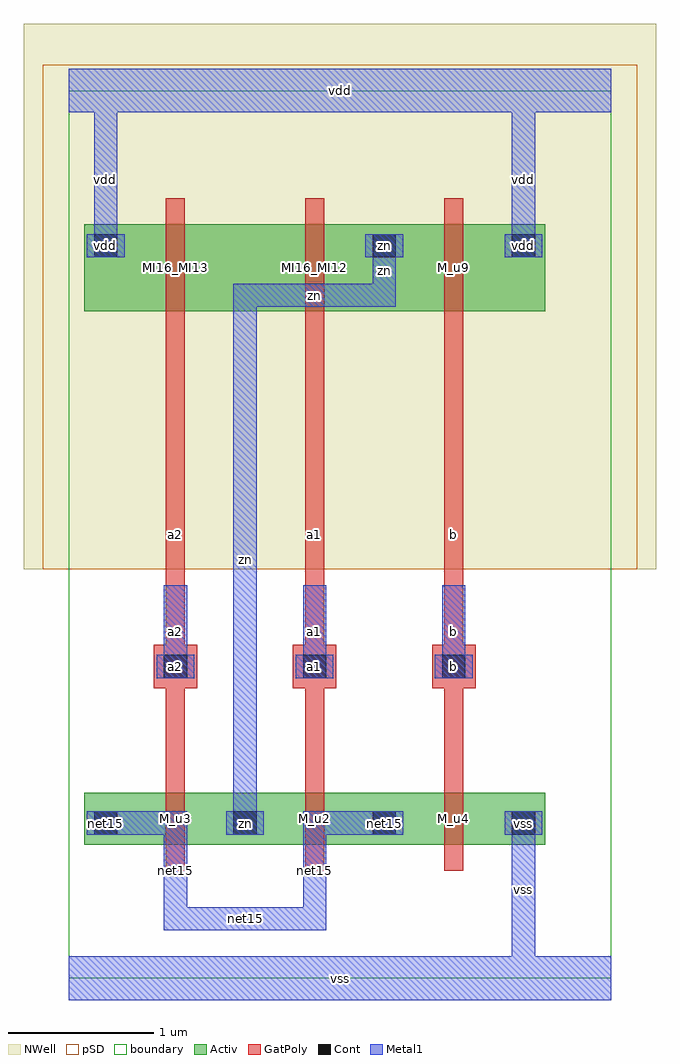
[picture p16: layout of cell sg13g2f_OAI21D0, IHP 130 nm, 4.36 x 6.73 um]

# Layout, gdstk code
import gdstk
lib = gdstk.Library(unit=1e-6, precision=1e-09)
def R(c, l, rs):  # rectangles x0, y0, x1, y1
    for r in rs: c.add(gdstk.rectangle(r[:2], r[2:], *l))
def A(c, l, x, y, w, h, nx, ny, dx, dy):  # array of equal rectangles
    R(c, l, [(x+i*dx, y+j*dy, x+i*dx+w, y+j*dy+h) for i in range(nx) for j in range(ny)])
Activ = (1, 0)
GatPoly = (5, 0)
Cont = (6, 0)
Metal1 = (8, 0)
pSD = (14, 0)
NWell = (31, 0)
TEXT = (63, 0)
boundary = (189, 4)

sg13g2f_oai21d0 = lib.new_cell('sg13g2f_OAI21D0')
A(sg13g2f_oai21d0, Activ, 0.105, 0.92, 1.26, 0.36, 3, 1, 0.96, 0)
A(sg13g2f_oai21d0, Activ, 0.105, 0.92, 0.3, 0.3, 4, 1, 0.96, 0)
A(sg13g2f_oai21d0, Activ, 0.105, 4.6, 1.26, 0.6, 3, 1, 0.96, 0)
R(sg13g2f_oai21d0, Activ, [(0.105,4.9,0.405,5.2), (2.025,4.9,2.325,5.2), (2.985,4.9,3.285,5.2)])
A(sg13g2f_oai21d0, GatPoly, 0.67, 0.74, 0.13, 0.72, 3, 1, 0.96, 0)
A(sg13g2f_oai21d0, GatPoly, 0.67, 1.005, 0.13, 4.11, 3, 1, 0.96, 0)
A(sg13g2f_oai21d0, GatPoly, 0.585, 2, 0.3, 0.3, 3, 1, 0.96, 0)
A(sg13g2f_oai21d0, GatPoly, 0.67, 4.42, 0.13, 0.96, 3, 1, 0.96, 0)
A(sg13g2f_oai21d0, Cont, 0.175, 0.99, 0.16, 0.16, 4, 1, 0.96, 0)
A(sg13g2f_oai21d0, Cont, 0.655, 2.07, 0.16, 0.16, 3, 1, 0.96, 0)
R(sg13g2f_oai21d0, Cont, [(0.175,4.97,0.335,5.13), (2.095,4.97,2.255,5.13), (3.055,4.97,3.215,5.13)])
A(sg13g2f_oai21d0, Metal1, 0.125, 0.99, 0.26, 0.16, 4, 1, 0.96, 0)
A(sg13g2f_oai21d0, Metal1, 0.605, 2.07, 0.26, 0.16, 3, 1, 0.96, 0)
A(sg13g2f_oai21d0, Metal1, 0.655, 2.07, 0.16, 0.64, 3, 1, 0.96, 0)
R(sg13g2f_oai21d0, Metal1, [(0,-0.15,3.74,0.15), (3.055,0.07,3.215,1.15), (0.655,0.33,1.775,0.49), (0.655,0.33,0.815,1.15), (1.615,0.33,1.775,1.15), (0.175,0.99,0.815,1.15), (1.135,0.99,1.295,4.79), (1.615,0.99,2.255,1.15), (1.135,4.63,2.255,4.79), (2.095,4.63,2.255,5.13), (0.125,4.97,0.385,5.13), (0.175,4.97,0.335,6.05), (2.045,4.97,2.305,5.13), (3.005,4.97,3.265,5.13), (3.055,4.97,3.215,6.05), (0,5.97,3.74,6.27)])
R(sg13g2f_oai21d0, pSD, [(-0.18,2.82,3.92,5.94), (-0.18,5.94,3.92,6.3)])
R(sg13g2f_oai21d0, NWell, [(-0.31,2.82,4.05,6.58)])
R(sg13g2f_oai21d0, boundary, [(0,0,3.74,6.12)])
sg13g2f_oai21d0.add(gdstk.FlexPath([(0.105,0.41),(3.285,0.41)], 0, ends="flush", simple_path=True, layer=63, datatype=0))  # TEXT
sg13g2f_oai21d0.add(gdstk.FlexPath([(0.105,1.07),(3.285,1.07)], 0, ends="flush", simple_path=True, layer=63, datatype=0))  # TEXT
sg13g2f_oai21d0.add(gdstk.FlexPath([(0.105,1.49),(3.285,1.49)], 0, ends="flush", simple_path=True, layer=63, datatype=0))  # TEXT
sg13g2f_oai21d0.add(gdstk.FlexPath([(0.105,2.15),(3.285,2.15)], 0, ends="flush", simple_path=True, layer=63, datatype=0))  # TEXT
sg13g2f_oai21d0.add(gdstk.FlexPath([(0.105,2.63),(3.285,2.63)], 0, ends="flush", simple_path=True, layer=63, datatype=0))  # TEXT
sg13g2f_oai21d0.add(gdstk.FlexPath([(0.105,3.11),(3.285,3.11)], 0, ends="flush", simple_path=True, layer=63, datatype=0))  # TEXT
sg13g2f_oai21d0.add(gdstk.FlexPath([(0.105,4.15),(3.285,4.15)], 0, ends="flush", simple_path=True, layer=63, datatype=0))  # TEXT
sg13g2f_oai21d0.add(gdstk.FlexPath([(0.105,4.71),(3.285,4.71)], 0, ends="flush", simple_path=True, layer=63, datatype=0))  # TEXT
sg13g2f_oai21d0.add(gdstk.FlexPath([(0.105,5.05),(3.285,5.05)], 0, ends="flush", simple_path=True, layer=63, datatype=0))  # TEXT
sg13g2f_oai21d0.add(gdstk.FlexPath([(0.105,5.71),(3.285,5.71)], 0, ends="flush", simple_path=True, layer=63, datatype=0))  # TEXT
sg13g2f_oai21d0.add(gdstk.FlexPath([(0.255,0.07),(0.255,6.05)], 0, ends="flush", simple_path=True, layer=63, datatype=0))  # TEXT
sg13g2f_oai21d0.add(gdstk.FlexPath([(0.735,0.07),(0.735,6.05)], 0, ends="flush", simple_path=True, layer=63, datatype=0))  # TEXT
sg13g2f_oai21d0.add(gdstk.FlexPath([(1.215,0.07),(1.215,6.05)], 0, ends="flush", simple_path=True, layer=63, datatype=0))  # TEXT
sg13g2f_oai21d0.add(gdstk.FlexPath([(1.695,0.07),(1.695,6.05)], 0, ends="flush", simple_path=True, layer=63, datatype=0))  # TEXT
sg13g2f_oai21d0.add(gdstk.FlexPath([(2.175,0.07),(2.175,6.05)], 0, ends="flush", simple_path=True, layer=63, datatype=0))  # TEXT
sg13g2f_oai21d0.add(gdstk.FlexPath([(2.655,0.07),(2.655,6.05)], 0, ends="flush", simple_path=True, layer=63, datatype=0))  # TEXT
sg13g2f_oai21d0.add(gdstk.FlexPath([(3.135,0.07),(3.135,6.05)], 0, ends="flush", simple_path=True, layer=63, datatype=0))  # TEXT
sg13g2f_oai21d0.add(gdstk.Label('zn', (1.215,1.07), layer=6, texttype=0))
sg13g2f_oai21d0.add(gdstk.Label('zn', (2.175,5.05), layer=6, texttype=0))
sg13g2f_oai21d0.add(gdstk.Label('a1', (1.695,2.15), layer=6, texttype=0))
sg13g2f_oai21d0.add(gdstk.Label('net15', (2.175,1.07), layer=6, texttype=0))
sg13g2f_oai21d0.add(gdstk.Label('net15', (0.255,1.07), layer=6, texttype=0))
sg13g2f_oai21d0.add(gdstk.Label('a2', (0.735,2.15), layer=6, texttype=0))
sg13g2f_oai21d0.add(gdstk.Label('b', (2.655,2.15), layer=6, texttype=0))
sg13g2f_oai21d0.add(gdstk.Label('vss', (3.135,1.07), layer=6, texttype=0))
sg13g2f_oai21d0.add(gdstk.Label('vdd', (3.135,5.05), layer=6, texttype=0))
sg13g2f_oai21d0.add(gdstk.Label('vdd', (0.255,5.05), layer=6, texttype=0))
sg13g2f_oai21d0.add(gdstk.Label('net15', (2.175,1.07), layer=8, texttype=0))
sg13g2f_oai21d0.add(gdstk.Label('net15', (0.255,1.07), layer=8, texttype=0))
sg13g2f_oai21d0.add(gdstk.Label('net15', (1.935,1.07), layer=8, texttype=0))
sg13g2f_oai21d0.add(gdstk.Label('net15', (1.695,0.74), layer=8, texttype=0))
sg13g2f_oai21d0.add(gdstk.Label('net15', (1.215,0.41), layer=8, texttype=0))
sg13g2f_oai21d0.add(gdstk.Label('net15', (0.735,0.74), layer=8, texttype=0))
sg13g2f_oai21d0.add(gdstk.Label('net15', (0.495,1.07), layer=8, texttype=0))
sg13g2f_oai21d0.add(gdstk.Label('vss', (3.135,1.07), layer=8, texttype=0))
sg13g2f_oai21d0.add(gdstk.Label('vss', (3.135,0.61), layer=8, texttype=0))
sg13g2f_oai21d0.add(gdstk.Label('vdd', (3.135,5.05), layer=8, texttype=0))
sg13g2f_oai21d0.add(gdstk.Label('vdd', (3.135,5.51), layer=8, texttype=0))
sg13g2f_oai21d0.add(gdstk.Label('vdd', (0.255,5.05), layer=8, texttype=0))
sg13g2f_oai21d0.add(gdstk.Label('vdd', (0.255,5.51), layer=8, texttype=0))
sg13g2f_oai21d0.add(gdstk.Label('zn', (1.215,1.07), layer=8, texttype=2))
sg13g2f_oai21d0.add(gdstk.Label('zn', (2.175,5.05), layer=8, texttype=2))
sg13g2f_oai21d0.add(gdstk.Label('zn', (1.215,2.89), layer=8, texttype=2))
sg13g2f_oai21d0.add(gdstk.Label('zn', (1.695,4.71), layer=8, texttype=2))
sg13g2f_oai21d0.add(gdstk.Label('zn', (2.175,4.88), layer=8, texttype=2))
sg13g2f_oai21d0.add(gdstk.Label('a1', (1.695,2.15), layer=8, texttype=2))
sg13g2f_oai21d0.add(gdstk.Label('a1', (1.695,2.39), layer=8, texttype=2))
sg13g2f_oai21d0.add(gdstk.Label('a2', (0.735,2.15), layer=8, texttype=2))
sg13g2f_oai21d0.add(gdstk.Label('a2', (0.735,2.39), layer=8, texttype=2))
sg13g2f_oai21d0.add(gdstk.Label('b', (2.655,2.15), layer=8, texttype=2))
sg13g2f_oai21d0.add(gdstk.Label('b', (2.655,2.39), layer=8, texttype=2))
sg13g2f_oai21d0.add(gdstk.Label('vss', (1.87,0), layer=8, texttype=2))
sg13g2f_oai21d0.add(gdstk.Label('vdd', (1.87,6.12), layer=8, texttype=2))
sg13g2f_oai21d0.add(gdstk.Label('zn', (1.215,1.07), layer=8, texttype=2))
sg13g2f_oai21d0.add(gdstk.Label('zn', (2.175,5.05), layer=8, texttype=2))
sg13g2f_oai21d0.add(gdstk.Label('zn', (1.215,2.89), layer=8, texttype=2))
sg13g2f_oai21d0.add(gdstk.Label('zn', (1.695,4.71), layer=8, texttype=2))
sg13g2f_oai21d0.add(gdstk.Label('zn', (2.175,4.88), layer=8, texttype=2))
sg13g2f_oai21d0.add(gdstk.Label('a1', (1.695,2.15), layer=8, texttype=2))
sg13g2f_oai21d0.add(gdstk.Label('a1', (1.695,2.39), layer=8, texttype=2))
sg13g2f_oai21d0.add(gdstk.Label('a2', (0.735,2.15), layer=8, texttype=2))
sg13g2f_oai21d0.add(gdstk.Label('a2', (0.735,2.39), layer=8, texttype=2))
sg13g2f_oai21d0.add(gdstk.Label('b', (2.655,2.15), layer=8, texttype=2))
sg13g2f_oai21d0.add(gdstk.Label('b', (2.655,2.39), layer=8, texttype=2))
sg13g2f_oai21d0.add(gdstk.Label('vss', (1.87,0), layer=8, texttype=2))
sg13g2f_oai21d0.add(gdstk.Label('vdd', (1.87,6.12), layer=8, texttype=2))
sg13g2f_oai21d0.add(gdstk.Label('M_u2', (1.695,1.1), layer=1, texttype=0))
sg13g2f_oai21d0.add(gdstk.Label('M_u3', (0.735,1.1), layer=1, texttype=0))
sg13g2f_oai21d0.add(gdstk.Label('M_u4', (2.655,1.1), layer=1, texttype=0))
sg13g2f_oai21d0.add(gdstk.Label('MI16_MI12', (1.695,4.9), layer=1, texttype=0))
sg13g2f_oai21d0.add(gdstk.Label('M_u9', (2.655,4.9), layer=1, texttype=0))
sg13g2f_oai21d0.add(gdstk.Label('MI16_MI13', (0.735,4.9), layer=1, texttype=0))
sg13g2f_oai21d0.add(gdstk.Label('zn', (1.215,1.07), layer=1, texttype=0))
sg13g2f_oai21d0.add(gdstk.Label('zn', (2.175,5.05), layer=1, texttype=0))
sg13g2f_oai21d0.add(gdstk.Label('net15', (2.175,1.07), layer=1, texttype=0))
sg13g2f_oai21d0.add(gdstk.Label('net15', (0.255,1.07), layer=1, texttype=0))
sg13g2f_oai21d0.add(gdstk.Label('vss', (3.135,1.07), layer=1, texttype=0))
sg13g2f_oai21d0.add(gdstk.Label('vdd', (3.135,5.05), layer=1, texttype=0))
sg13g2f_oai21d0.add(gdstk.Label('vdd', (0.255,5.05), layer=1, texttype=0))
sg13g2f_oai21d0.add(gdstk.Label('zn', (1.215,1.07), layer=8, texttype=25))
sg13g2f_oai21d0.add(gdstk.Label('zn', (2.175,5.05), layer=8, texttype=25))
sg13g2f_oai21d0.add(gdstk.Label('zn', (1.215,2.89), layer=8, texttype=25))
sg13g2f_oai21d0.add(gdstk.Label('zn', (1.695,4.71), layer=8, texttype=25))
sg13g2f_oai21d0.add(gdstk.Label('zn', (2.175,4.88), layer=8, texttype=25))
sg13g2f_oai21d0.add(gdstk.Label('a1', (1.695,2.15), layer=8, texttype=25))
sg13g2f_oai21d0.add(gdstk.Label('a1', (1.695,2.39), layer=8, texttype=25))
sg13g2f_oai21d0.add(gdstk.Label('a2', (0.735,2.15), layer=8, texttype=25))
sg13g2f_oai21d0.add(gdstk.Label('a2', (0.735,2.39), layer=8, texttype=25))
sg13g2f_oai21d0.add(gdstk.Label('b', (2.655,2.15), layer=8, texttype=25))
sg13g2f_oai21d0.add(gdstk.Label('b', (2.655,2.39), layer=8, texttype=25))
sg13g2f_oai21d0.add(gdstk.Label('vss', (1.87,0), layer=8, texttype=25))
sg13g2f_oai21d0.add(gdstk.Label('vdd', (1.87,6.12), layer=8, texttype=25))
sg13g2f_oai21d0.add(gdstk.Label('a1', (1.695,3.06), layer=5, texttype=0))
sg13g2f_oai21d0.add(gdstk.Label('a1', (1.695,2.15), layer=5, texttype=0))
sg13g2f_oai21d0.add(gdstk.Label('a2', (0.735,3.06), layer=5, texttype=0))
sg13g2f_oai21d0.add(gdstk.Label('a2', (0.735,2.15), layer=5, texttype=0))
sg13g2f_oai21d0.add(gdstk.Label('b', (2.655,3.06), layer=5, texttype=0))
sg13g2f_oai21d0.add(gdstk.Label('b', (2.655,2.15), layer=5, texttype=0))

lib.write_gds('sg13g2f_OAI21D0.gds')
